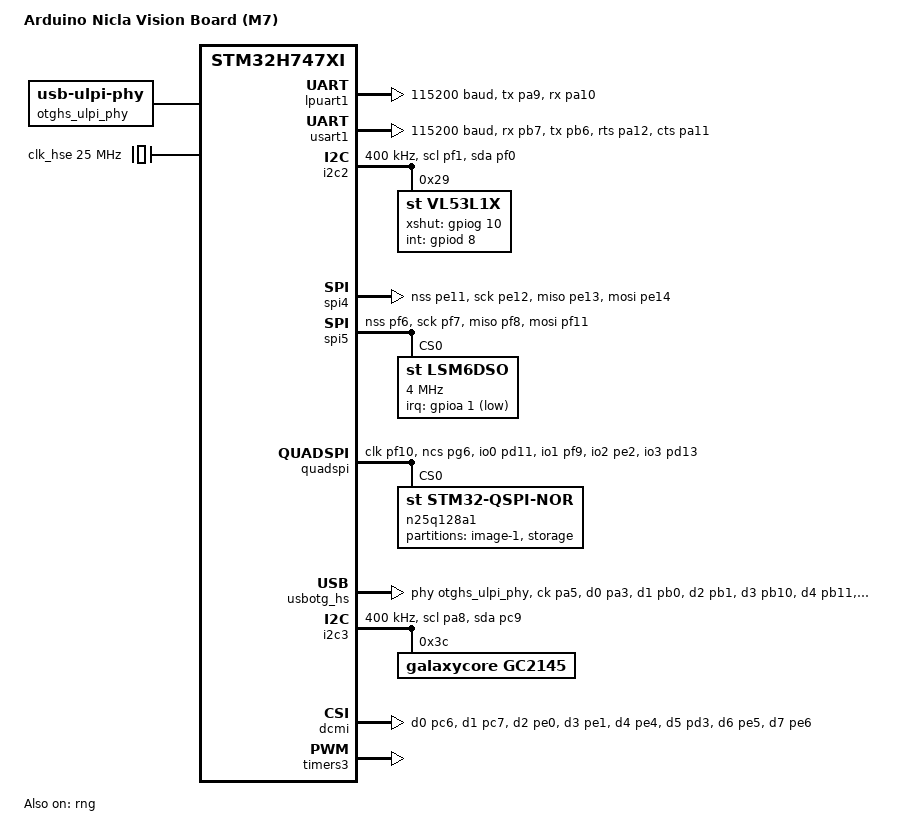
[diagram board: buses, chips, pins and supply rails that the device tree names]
/*
 * Copyright 2024 Felipe Neves
 *
 * SPDX-License-Identifier: Apache-2.0
 */

/dts-v1/;
#include <st/h7/stm32h747Xi_m7.dtsi>
#include <st/h7/stm32h747a(g-i)ix-pinctrl.dtsi>
#include <zephyr/dt-bindings/memory-attr/memory-attr-arm.h>
#include "arduino_nicla_vision.dtsi"

/ {
	model = "Arduino Nicla Vision Board (M7)";
	compatible = "arduino,nicla-vision";

	chosen {
		zephyr,console = &lpuart1;
		zephyr,shell-uart = &lpuart1;
		zephyr,uart-mcumgr = &lpuart1;
		zephyr,bt-hci = &bt_hci_uart;
		zephyr,sram = &sram0;
		zephyr,flash = &flash0;
		zephyr,code-partition = &slot0_partition;
		zephyr,camera = &dcmi;
	};

	aliases {
		led0 = &red_led;
		led1 = &green_led;
	};

	otghs_ulpi_phy: otghs_ulpis_phy {
		compatible = "usb-ulpi-phy";
		#phy-cells = <0>;
	};
};

&clk_hse {
	status = "okay";
	hse-bypass;
	clock-frequency = <DT_FREQ_M(25)>;
};

&clk_lse {
	lse-bypass;
	status = "okay";
};

&clk_hsi48 {
	status = "okay";
};

&pll {
	div-m = <5>;
	mul-n = <192>;
	div-p = <2>;
	div-q = <4>;
	div-r = <2>;
	clocks = <&clk_hse>;
	status = "okay";
};

&rcc {
	clocks = <&pll>;
	clock-frequency = <DT_FREQ_M(480)>;
};

&lpuart1 {
	status = "okay";
	pinctrl-0 = <&lpuart1_tx_pa9 &lpuart1_rx_pa10>;
	pinctrl-names = "default";
	current-speed = <115200>;
};

&usart1 {
	pinctrl-0 = <&usart1_rx_pb7 &usart1_tx_pb6
		     &usart1_rts_pa12 &usart1_cts_pa11>;
	pinctrl-names = "default";
	current-speed = <115200>;
	status = "okay";
	hw-flow-control;

	bt_hci_uart: bt_hci_uart {
		compatible = "zephyr,bt-hci-uart";
		status = "okay";

		murata-1dx {
			compatible = "infineon,cyw43xxx-bt-hci";
			bt-reg-on-gpios = <&gpiof 14 GPIO_ACTIVE_HIGH>;
			bt-host-wake-gpios = <&gpiod 14 GPIO_ACTIVE_HIGH>;
			bt-dev-wake-gpios = <&gpioe 9 GPIO_ACTIVE_HIGH>;
			fw-download-speed = <115200>;
		};
	};
};

zephyr_i2c: &i2c1 {
	status = "disabled";
	pinctrl-0 = <&i2c1_scl_pb8 &i2c1_sda_pb9>;
	pinctrl-names = "default";
	clock-frequency = <I2C_BITRATE_FAST>;
};

&i2c2 {
	status = "okay";
	pinctrl-0 = <&i2c2_scl_pf1 &i2c2_sda_pf0>;
	pinctrl-names = "default";
	clock-frequency = <I2C_BITRATE_FAST>;

	vl53l1x: vl53l1x@29 {
		compatible = "st,vl53l1x";
		reg = <0x29>;
		status = "okay";
		xshut-gpios = <&gpiog 10 GPIO_ACTIVE_HIGH>;
		int-gpios = <&gpiod 8 GPIO_ACTIVE_HIGH>;
	};
};

&spi4 {
	status = "okay";
	pinctrl-0 = <&spi4_nss_pe11 &spi4_sck_pe12
		     &spi4_miso_pe13 &spi4_mosi_pe14>;
	pinctrl-names = "default";
};

&spi5 {
	status = "okay";
	pinctrl-0 = <&spi5_nss_pf6 &spi5_sck_pf7
		     &spi5_miso_pf8 &spi5_mosi_pf11>;
	pinctrl-names = "default";

	lsm6dso: lsm6dso@0 {
		compatible = "st,lsm6dso";
		status = "okay";
		reg = <0x0>;
		irq-gpios = <&gpioa 1 GPIO_ACTIVE_LOW>;
		spi-max-frequency = <4000000>;
	};
};

&flash0 {
	partitions {
		compatible = "fixed-partitions";
		#address-cells = <1>;
		#size-cells = <1>;

		boot_partition: partition@0 {
			label = "bootloader";
			reg = <0x0 0x40000>;
			read-only;
		};

		slot0_partition: partition@40000 {
			label = "image-0";
			reg = <0x40000 0x000c0000>;
		};
	};
};

&quadspi {
	pinctrl-0 = <&quadspi_clk_pf10 &quadspi_bk1_ncs_pg6
		     &quadspi_bk1_io0_pd11 &quadspi_bk1_io1_pf9
		     &quadspi_bk1_io2_pe2 &quadspi_bk1_io3_pd13>;
	pinctrl-names = "default";
	status = "okay";

	n25q128a1: qspi-nor-flash@0 {
		compatible = "st,stm32-qspi-nor";
		reg = <0>;
		size = <DT_SIZE_M(128)>; /* 128 Mbits */
		qspi-max-frequency = <72000000>;
		cs-high-time = <4>; /* >= 50 ns */
		status = "okay";

		partitions {
			compatible = "fixed-partitions";
			#address-cells = <1>;
			#size-cells = <1>;

			slot1_partition: partition@0 {
				label = "image-1";
				reg = <0x00000000 DT_SIZE_M(1)>;
			};

			storage_partition: partition@100000 {
				label = "storage";
				reg = <0x00100000 DT_SIZE_M(15)>;
			};
		};
	};
};

&rng {
	status = "okay";
};

zephyr_udc0: &usbotg_hs {
	pinctrl-0 = <&usb_otg_hs_ulpi_ck_pa5
		     &usb_otg_hs_ulpi_d0_pa3
		     &usb_otg_hs_ulpi_d1_pb0
		     &usb_otg_hs_ulpi_d2_pb1
		     &usb_otg_hs_ulpi_d3_pb10
		     &usb_otg_hs_ulpi_d4_pb11
		     &usb_otg_hs_ulpi_d5_pb12
		     &usb_otg_hs_ulpi_d6_pb13
		     &usb_otg_hs_ulpi_d7_pb5
		     &usb_otg_hs_ulpi_stp_pc0
		     &usb_otg_hs_ulpi_dir_pc2_c
		     &usb_otg_hs_ulpi_nxt_pc3_c>;
	pinctrl-names = "default";
	maximum-speed = "high-speed";
	phys = <&otghs_ulpi_phy>;
	status = "okay";
};

&i2c3 {
	status = "okay";
	pinctrl-0 = <&i2c3_scl_pa8 &i2c3_sda_pc9>;
	pinctrl-names = "default";
	clock-frequency = <I2C_BITRATE_FAST>;

	gc2145: gc2145@3c {
		compatible = "galaxycore,gc2145";
		reg = <0x3c>;
		status = "okay";

		port {
			gc2145_ep_out: endpoint {
				remote-endpoint-label = "dcmi_ep_in";
			};
		};
	};
};

&dcmi {
	pinctrl-0 = <&dcmi_d0_pc6 &dcmi_d1_pc7 &dcmi_d2_pe0 &dcmi_d3_pe1
		     &dcmi_d4_pe4 &dcmi_d5_pd3 &dcmi_d6_pe5 &dcmi_d7_pe6
		     &dcmi_pixclk_pa6 &dcmi_hsync_pa4 &dcmi_vsync_pg9>;

	pinctrl-names = "default";
	status = "okay";

	port {
		dcmi_ep_in: endpoint {
			remote-endpoint-label = "gc2145_ep_out";
			bus-width = <8>;
			hsync-active = <0>;
			vsync-active = <0>;
			pclk-sample = <0>;
		};
	};
};

/* The Arduino nicla uses a PWM output to generate the clock for the
 * GC2145 sensor, so we need to configure the PWM generator...
 */
&timers3 {
	status = "okay";
	st,prescaler = <0>;

	cam_clock_pwm: pwm {
		status = "okay";
		pinctrl-0 = <&tim3_ch2_pa7>;
		pinctrl-names = "default";
	};
};

&cam_clock_pwm {
	/* ...then use the pwmclock node to start the clock generation */
	pwmclock: pwmclock {
		status = "okay";
		compatible = "pwm-clock";
		clock-frequency = <0>;
		#clock-cells = <1>;
		pwms = <&cam_clock_pwm 2 PWM_HZ(10000000) PWM_POLARITY_NORMAL>;
	};
};

&dma1 {
	status = "okay";
};

&dmamux1 {
	status = "okay";
};
